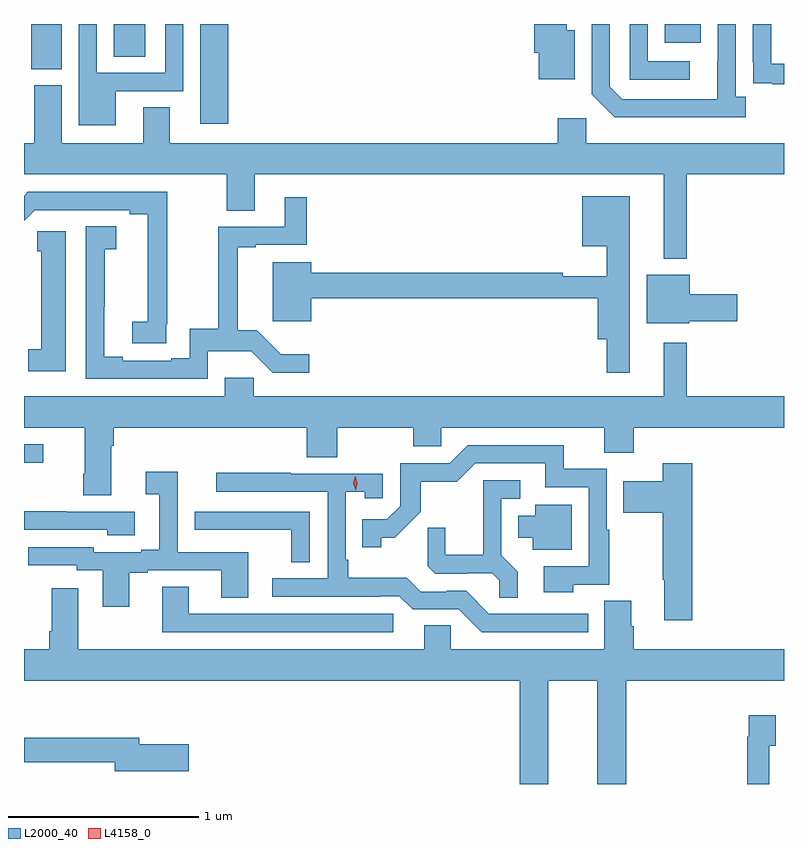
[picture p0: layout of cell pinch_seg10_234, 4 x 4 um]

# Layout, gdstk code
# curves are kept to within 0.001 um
import gdstk
lib = gdstk.Library(unit=1e-6, precision=1e-09)
def R(c, l, rs):  # rectangles x0, y0, x1, y1
    for r in rs: c.add(gdstk.rectangle(r[:2], r[2:], *l))
def P(c, l, *ps):  # polygons
    for p in ps: c.add(gdstk.Polygon(p, *l))
L2000_40 = (2000, 40)
L4158_0 = (4158, 0)

pinch_seg10_234 = lib.new_cell('pinch_seg10_234')
R(pinch_seg10_234, L2000_40, [(611.974,1296.135,612.076,1296.231), (612.902,1297.92,613.049,1298.444), (612.011,1298.206,612.172,1298.444), (612.446,1298.272,612.613,1298.444), (615.347,1298.345,615.535,1298.444)])
P(pinch_seg10_234, L2000_40, [(612.457,1298.091),(612.813,1298.091),(612.813,1298.444),(612.717,1298.444),(612.717,1298.187),(612.357,1298.187),(612.357,1298.444),(612.261,1298.444),(612.261,1297.91),(612.457,1297.91)],
  [(615.974,1298.235),(615.906,1298.235),(615.906,1298.444),(615.81,1298.444),(615.81,1298.242),(615.811,1298.242),(615.811,1298.133),(615.913,1298.133),(615.913,1298.127),(615.974,1298.127)],
  [(615.478,1298.247),(615.258,1298.247),(615.258,1298.444),(615.162,1298.444),(615.162,1298.151),(615.478,1298.151)],
  [(615.772,1298.062),(615.72,1298.062),(615.72,1298.444),(615.624,1298.444),(615.623,1298.049),(615.123,1298.049),(615.057,1298.115),(615.057,1298.444),(614.961,1298.444),(614.961,1298.073),(615.082,1297.952),(615.772,1297.952)],
  [(614.872,1298.41),(614.83,1298.41),(614.83,1298.444),(614.66,1298.444),(614.66,1298.292),(614.684,1298.292),(614.684,1298.153),(614.872,1298.153)],
  [(615.463,1297.652),(615.974,1297.652),(615.974,1297.816),(614.934,1297.816),(614.934,1297.948),(614.783,1297.948),(614.783,1297.816),(612.742,1297.816),(612.742,1298.006),(612.602,1298.006),(612.602,1297.816),(612.172,1297.816),(612.172,1298.121),(612.029,1298.121),(612.029,1297.816),(611.974,1297.816),(611.974,1297.652),(613.042,1297.652),(613.042,1297.462),(613.189,1297.462),(613.189,1297.652),(615.341,1297.652),(615.341,1297.208),(615.463,1297.208)],
  [(612.722,1296.865),(612.728,1296.865),(612.728,1297.56),(611.994,1297.56),(611.974,1297.54),(611.974,1297.408),(612.03,1297.464),(612.53,1297.464),(612.53,1297.444),(612.626,1297.444),(612.625,1296.878),(612.543,1296.878),(612.543,1296.763),(612.722,1296.763)],
  [(615.163,1297.537),(614.912,1297.537),(614.912,1297.274),(615.042,1297.274),(615.042,1297.117),(614.809,1297.117),(614.809,1297.136),(613.486,1297.136),(613.486,1297.189),(613.283,1297.189),(613.283,1296.879),(613.486,1296.879),(613.486,1297),(614.993,1297),(614.993,1296.785),(615.042,1296.785),(615.042,1296.609),(615.163,1296.609)],
  [(612.942,1296.722),(613.171,1296.722),(613.284,1296.609),(613.474,1296.609),(613.474,1296.706),(613.325,1296.706),(613.199,1296.832),(613.1,1296.832),(613.1,1297.269),(613.195,1297.269),(613.195,1297.281),(613.463,1297.281),(613.463,1297.531),(613.346,1297.531),(613.346,1297.377),(612.997,1297.377),(612.997,1296.839),(612.846,1296.839),(612.846,1296.686),(612.749,1296.686),(612.749,1296.672),(612.493,1296.672),(612.493,1296.692),(612.397,1296.692),(612.397,1296.955),(612.399,1296.955),(612.399,1297.259),(612.46,1297.259),(612.46,1297.379),(612.3,1297.379),(612.3,1296.576),(612.942,1296.576)],
  [(612.193,1297.354),(612.043,1297.354),(612.043,1297.248),(612.065,1297.248),(612.065,1296.732),(611.997,1296.732),(611.997,1296.617),(612.193,1296.617)],
  [(615.474,1296.88),(615.727,1296.88),(615.727,1297.022),(615.478,1297.022),(615.478,1297.123),(615.251,1297.123),(615.251,1296.869),(615.474,1296.869)],
  [(612.433,1296.224),(612.446,1296.224),(612.446,1296.32),(613.463,1296.32),(613.463,1296.163),(613.623,1296.163),(613.623,1296.32),(614.023,1296.32),(614.023,1296.222),(614.169,1296.222),(614.169,1296.32),(615.029,1296.32),(615.029,1296.187),(615.182,1296.187),(615.182,1296.32),(615.974,1296.32),(615.974,1296.484),(615.463,1296.484),(615.463,1296.766),(615.341,1296.766),(615.341,1296.484),(613.183,1296.484),(613.183,1296.582),(613.031,1296.582),(613.031,1296.484),(611.974,1296.484),(611.974,1296.32),(612.293,1296.32),(612.293,1296.076),(612.286,1296.076),(612.286,1295.964),(612.433,1295.964)],
  [(614.865,1295.493),(615.055,1295.493),(615.055,1295.783),(615.042,1295.783),(615.042,1296.102),(614.816,1296.102),(614.816,1296.228),(614.31,1296.228),(614.214,1296.132),(613.953,1296.132),(613.953,1295.907),(613.884,1295.838),(613.753,1295.838),(613.753,1295.691),(613.854,1295.691),(613.854,1295.741),(613.924,1295.741),(614.062,1295.878),(614.062,1296.034),(614.251,1296.034),(614.349,1296.132),(614.717,1296.132),(614.717,1296.006),(614.946,1296.006),(614.946,1295.589),(614.709,1295.589),(614.709,1295.453),(614.865,1295.453)],
  [(615.491,1296.133),(615.337,1296.133),(615.337,1296.037),(615.127,1296.037),(615.127,1295.872),(615.337,1295.872),(615.337,1295.519),(615.344,1295.519),(615.344,1295.307),(615.491,1295.307)],
  [(612.529,1295.556),(612.625,1295.556),(612.625,1295.568),(613.013,1295.568),(613.013,1295.425),(613.153,1295.425),(613.153,1295.664),(612.783,1295.664),(612.783,1296.088),(612.615,1296.088),(612.615,1295.968),(612.686,1295.968),(612.686,1295.677),(612.59,1295.677),(612.59,1295.664),(612.342,1295.664),(612.342,1295.691),(611.997,1295.691),(611.997,1295.595),(612.252,1295.595),(612.252,1295.568),(612.389,1295.568),(612.389,1295.376),(612.529,1295.376)],
  [(614.944,1295.34),(614.421,1295.34),(614.301,1295.46),(614.2,1295.46),(614.2,1295.457),(614.061,1295.457),(613.988,1295.53),(613.681,1295.53),(613.681,1295.623),(613.668,1295.623),(613.668,1295.981),(613.767,1295.981),(613.767,1295.949),(613.863,1295.949),(613.863,1296.078),(613.379,1296.078),(613.379,1296.081),(612.987,1296.081),(612.987,1295.982),(613.572,1295.982),(613.572,1295.526),(613.281,1295.526),(613.281,1295.43),(613.85,1295.43),(613.85,1295.433),(613.95,1295.433),(614.019,1295.364),(614.262,1295.364),(614.382,1295.244),(614.944,1295.244)],
  [(614.573,1295.561),(614.487,1295.647),(614.487,1295.946),(614.587,1295.946),(614.587,1296.042),(614.39,1296.042),(614.39,1295.65),(614.192,1295.65),(614.192,1295.793),(614.098,1295.793),(614.098,1295.591),(614.139,1295.55),(614.304,1295.55),(614.304,1295.553),(614.438,1295.553),(614.475,1295.516),(614.475,1295.425),(614.573,1295.425)],
  [(614.857,1295.914),(614.666,1295.914),(614.666,1295.857),(614.576,1295.857),(614.576,1295.741),(614.651,1295.741),(614.651,1295.678),(614.857,1295.678)],
  [(612.556,1295.877),(612.197,1295.877),(612.197,1295.88),(611.974,1295.88),(611.974,1295.781),(612.411,1295.781),(612.411,1295.753),(612.556,1295.753)],
  [(613.479,1295.877),(612.873,1295.877),(612.873,1295.782),(612.985,1295.782),(612.985,1295.781),(613.381,1295.781),(613.381,1295.611),(613.479,1295.611)],
  [(613.918,1295.34),(612.841,1295.34),(612.841,1295.483),(612.701,1295.483),(612.701,1295.244),(613.918,1295.244)],
  [(614.734,1294.988),(614.99,1294.988),(614.99,1294.444),(615.143,1294.444),(615.143,1294.988),(615.974,1294.988),(615.974,1295.152),(615.182,1295.152),(615.182,1295.274),(615.169,1295.274),(615.169,1295.408),(615.029,1295.408),(615.029,1295.152),(614.22,1295.152),(614.22,1295.279),(614.081,1295.279),(614.081,1295.152),(612.259,1295.152),(612.259,1295.473),(612.119,1295.473),(612.119,1295.248),(612.107,1295.248),(612.107,1295.152),(611.974,1295.152),(611.974,1294.988),(614.582,1294.988),(614.582,1294.444),(614.734,1294.444)],
  [(615.897,1294.646),(615.931,1294.646),(615.931,1294.807),(615.789,1294.807),(615.789,1294.694),(615.781,1294.694),(615.781,1294.444),(615.897,1294.444)],
  [(612.841,1294.653),(612.58,1294.653),(612.58,1294.687),(611.974,1294.687),(611.974,1294.558),(612.452,1294.558),(612.452,1294.511),(612.841,1294.511)])
P(pinch_seg10_234, L4158_0, [(613.719,1295.991),(613.708,1296.026),(613.717,1296.063),(613.717,1296.063),(613.717,1296.063),(613.728,1296.027),(613.72,1295.991),(613.72,1295.991)])

lib.write_gds('pinch_seg10_234.gds')
